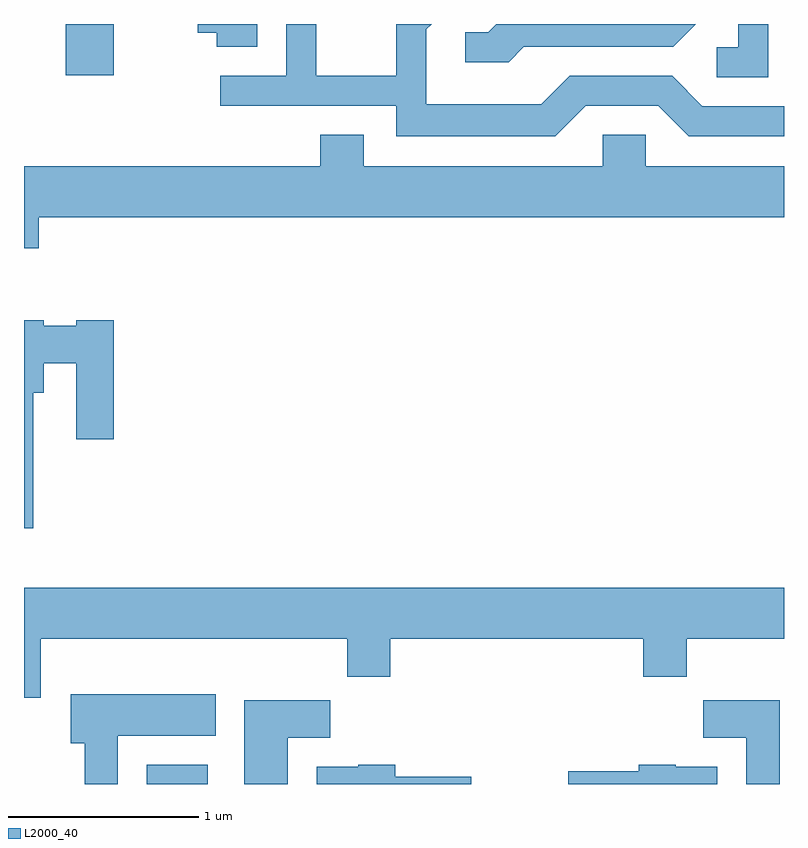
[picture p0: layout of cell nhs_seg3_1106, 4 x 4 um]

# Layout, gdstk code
import gdstk
lib = gdstk.Library(unit=1e-6, precision=1e-09)
def R(c, l, rs):  # rectangles x0, y0, x1, y1
    for r in rs: c.add(gdstk.rectangle(r[:2], r[2:], *l))
def P(c, l, *ps):  # polygons
    for p in ps: c.add(gdstk.Polygon(p, *l))
L2000_40 = (2000, 40)

nhs_seg3_1106 = lib.new_cell('nhs_seg3_1106')
R(nhs_seg3_1106, L2000_40, [(218.256,1151.892,218.579,1151.994), (217.831,1155.621,218.084,1155.892)])
P(nhs_seg3_1106, L2000_40, [(220.567,1155.461),(220.949,1155.461),(221.109,1155.301),(221.611,1155.301),(221.611,1155.459),(221.182,1155.459),(221.022,1155.619),(220.484,1155.619),(220.334,1155.469),(219.729,1155.469),(219.729,1155.864),(219.757,1155.892),(219.571,1155.892),(219.571,1155.619),(219.149,1155.619),(219.149,1155.892),(218.991,1155.892),(218.991,1155.619),(218.643,1155.619),(218.643,1155.461),(219.571,1155.461),(219.571,1155.301),(220.407,1155.301)],
  [(220.242,1155.771),(221.027,1155.771),(221.147,1155.892),(220.097,1155.892),(220.054,1155.849),(219.933,1155.849),(219.933,1155.691),(220.162,1155.691)],
  [(221.529,1155.892),(221.371,1155.892),(221.371,1155.769),(221.258,1155.769),(221.258,1155.611),(221.529,1155.611)],
  [(218.839,1155.892),(218.526,1155.892),(218.526,1155.846),(218.626,1155.846),(218.626,1155.771),(218.839,1155.771)],
  [(217.689,1154.876),(221.611,1154.876),(221.611,1155.144),(220.884,1155.144),(220.884,1155.309),(220.656,1155.309),(220.656,1155.144),(219.399,1155.144),(219.399,1155.309),(219.171,1155.309),(219.171,1155.144),(217.611,1155.144),(217.611,1154.711),(217.689,1154.711)],
  [(217.659,1153.951),(217.714,1153.951),(217.714,1154.106),(217.886,1154.106),(217.886,1153.706),(218.084,1153.706),(218.084,1154.334),(217.886,1154.334),(217.886,1154.304),(217.714,1154.304),(217.714,1154.334),(217.611,1154.334),(217.611,1153.238),(217.659,1153.238)],
  [(217.699,1152.656),(219.311,1152.656),(219.311,1152.456),(219.539,1152.456),(219.539,1152.656),(220.871,1152.656),(220.871,1152.456),(221.099,1152.456),(221.099,1152.656),(221.611,1152.656),(221.611,1152.924),(217.611,1152.924),(217.611,1152.346),(217.699,1152.346)],
  [(218.104,1152.146),(218.619,1152.146),(218.619,1152.364),(217.856,1152.364),(217.856,1152.106),(217.931,1152.106),(217.931,1151.892),(218.104,1151.892)],
  [(218.999,1152.136),(219.224,1152.136),(219.224,1152.334),(218.771,1152.334),(218.771,1151.892),(218.999,1151.892)],
  [(221.589,1152.334),(221.186,1152.334),(221.186,1152.136),(221.411,1152.136),(221.411,1151.892),(221.589,1151.892)],
  [(219.964,1151.929),(219.564,1151.929),(219.564,1151.994),(219.37,1151.994),(219.37,1151.984),(219.151,1151.984),(219.151,1151.892),(219.964,1151.892)],
  [(221.259,1151.984),(221.04,1151.984),(221.04,1151.994),(220.846,1151.994),(220.846,1151.959),(220.476,1151.959),(220.476,1151.892),(221.259,1151.892)])

lib.write_gds('nhs_seg3_1106.gds')
